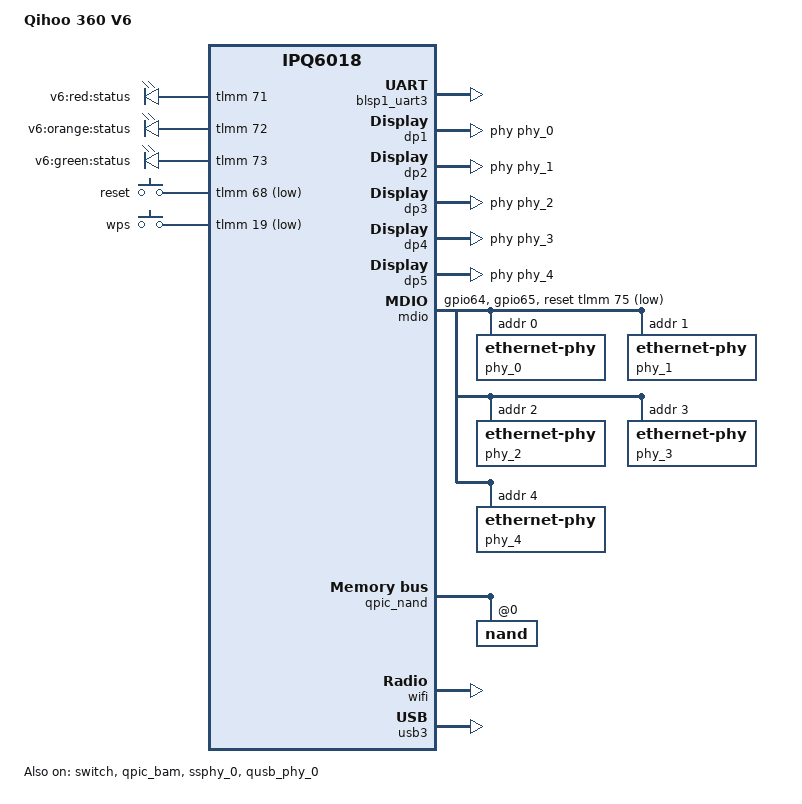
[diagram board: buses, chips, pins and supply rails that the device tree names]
// SPDX-License-Identifier: (GPL-2.0+)

/dts-v1/;

#include "ipq6018-256m.dtsi"
#include "ipq6018-ess.dtsi"
#include "ipq6018-cpr-regulator.dtsi"
#include "ipq6018-nss.dtsi"

#include <dt-bindings/input/input.h>
#include <dt-bindings/gpio/gpio.h>

/ {
	model = "Qihoo 360 V6";
	compatible = "qihoo,v6", "qcom,ipq6018";

	aliases {
		serial0 = &blsp1_uart3;
		led-boot = &led_system_orange;
		led-failsafe = &led_system_red;
		led-running = &led_system_green;
		led-upgrade = &led_system_orange;

		/* Aliases as required by u-boot to patch MAC addresses */
		//ethernet0 = &dp1;
		ethernet0 = &dp1;
		ethernet1 = &dp2;
		ethernet2 = &dp3;
		ethernet3 = &dp4;
	};

	chosen {
		bootargs-append = " root=/dev/ubiblock0_1 swiotlb=1 coherent_pool=2M";
	};

	leds {
		compatible = "gpio-leds";
		pinctrl-0 = <&leds_pins>;
		pinctrl-names = "default";

		led_system_red: system-red {
			label = "v6:red:status";
			gpios = <&tlmm 71 GPIO_ACTIVE_HIGH>;
		};

		led_system_orange: system-orange {
			label = "v6:orange:status";
			gpios = <&tlmm 72 GPIO_ACTIVE_HIGH>;
		};

		led_system_green: system-green {
			label = "v6:green:status";
			gpios = <&tlmm 73 GPIO_ACTIVE_HIGH>;
		};
	};

	keys {
		compatible = "gpio-keys";

		reset {
			label = "reset";
			gpios = <&tlmm 68 GPIO_ACTIVE_LOW>;
			linux,code = <KEY_RESTART>;
		};

		wps {
			label = "wps";
			gpios = <&tlmm 19 GPIO_ACTIVE_LOW>;
			linux,code = <KEY_WPS_BUTTON>;
		};
	};
};

&blsp1_uart3 {
	pinctrl-0 = <&serial_3_pins>;
	pinctrl-names = "default";
	status = "okay";
};

&tlmm {

	mdio_pins: mdio-pins {
		mdc {
			pins = "gpio64";
			function = "mdc";
			drive-strength = <8>;
			bias-pull-up;
		};

		mdio {
			pins = "gpio65";
			function = "mdio";
			drive-strength = <8>;
			bias-pull-up;
		};
	};

	leds_pins: leds_pins {
		mux {
			pins = "gpio71", "gpio72", "gpio73";
			function = "gpio";
			drive-strength = <8>;
			bias-pull-down;
		};
	};

};


&dp1 {
	phy-handle = <&phy_0>;
	status = "okay";
	qcom,id = <1>;
};

&dp2 {
	phy-handle = <&phy_1>;
	status = "okay";
	qcom,id = <2>;
};

&dp3 {
	phy-handle = <&phy_2>;
	status = "okay";
	qcom,id = <3>;
};

&dp4 {
	phy-handle = <&phy_3>;
	status = "okay";
	qcom,id = <4>;
};

&dp5 {
	phy-handle = <&phy_4>;
	status = "okay";
	qcom,id = <5>;
};

&edma {
	status = "okay";
};

&mdio {
	status = "okay";
	pinctrl-0 = <&mdio_pins>;
	pinctrl-names = "default";
	reset-gpios = <&tlmm 75 GPIO_ACTIVE_LOW>;

	phy_0: ethernet-phy@0 {
		reg = <0>;
// 		reset-gpios = <&tlmm 77 GPIO_ACTIVE_LOW>;
	};

	phy_1: ethernet-phy@1 {
		reg = <1>;
	};

	phy_2: ethernet-phy@2 {
		reg = <2>;
	};

	phy_3: ethernet-phy@3 {
		reg = <3>;
	};

	phy_4: ethernet-phy@4 {
		reg = <4>;
	};

};

&switch {
	status = "okay";

	switch_lan_bmp = <0x1e>;
	switch_wan_bmp = <0x20>;
	switch_mac_mode = <MAC_MODE_DISABLED>; /* MAC mode for UNIPHY instance 0 */
	switch_mac_mode1 = <MAC_MODE_DISABLED>; /* MAC mode for UNIPHY instance 1 */
	switch_mac_mode2 = <MAC_MODE_DISABLED>; /* MAC mode for UNIPHY instance 2 */

	qcom,port_phyinfo {
		port@0 {
			port_id = <0x01>;
			phy_address = <0x00>;
		};
		port@1 {
			port_id = <0x02>;
			phy_address = <0x01>;
		};
		port@2 {
			port_id = <0x03>;
			phy_address = <0x02>;
		};
		port@3 {
			port_id = <0x04>;
			phy_address = <0x03>;
		};
		port@4 {
			port_id = <0x05>;
			phy_address = <0x04>;
		};
	};
};

&qpic_bam {
	status = "okay";
};

&qpic_nand {
	status = "okay";

	nand@0 {
		reg = <0>;

		nand-ecc-strength = <4>;
		nand-ecc-step-size = <512>;
		nand-bus-width = <8>;
	};
};

&wifi {
	status = "okay";
	qcom,ath11k-fw-memory-mode = <2>;
	qcom,ath11k-calibration-variant = "Qihoo-V6";
 };

&ssphy_0 {
	status = "ok";
};

&qusb_phy_0 {
	status = "ok";
};

&usb3 {
	status = "ok";
};
